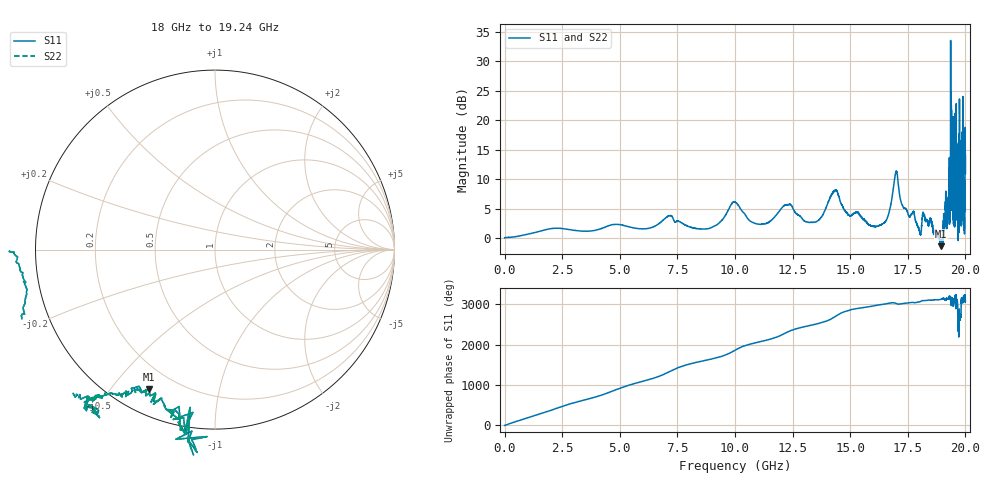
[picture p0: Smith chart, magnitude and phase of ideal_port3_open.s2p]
! Created with skrf (http://scikit-rf.org).
# GHz S RI R 50.0
!freq ReS11 ImS11 ReS21 ImS21 ReS12 ImS12 ReS22 ImS22
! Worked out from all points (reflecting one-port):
!   10001 points, 1 MHz to 20 GHz, reference 50 ohm
!   lowest |S11| = -1.3 dB at 18.95 GHz (marker M1), VSWR 13.24, Z = 5.29 - j31.5 ohm
!   phase of S11 starts at 0 deg and turns +3083 deg over the sweep
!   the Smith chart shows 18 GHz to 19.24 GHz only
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0.001  1.007 0.00805  0 0  0 0  1.007 0.00805
1.512924  0.1832 -1.133  0 0  0 0  0.1832 -1.133
2.40288  -0.0967 1.214  0 0  0 0  -0.0967 1.214
3.334833  -0.346 -1.101  0 0  0 0  -0.346 -1.101
4.930753  -1.305 -0.1541  0 0  0 0  -1.305 -0.1541
5.920704  1.206 0.04  0 0  0 0  1.206 0.04
6.668667  -0.8484 1.017  0 0  0 0  -0.8484 1.017
7.19264  -0.2128 -1.548  0 0  0 0  -0.2128 -1.548
8.064597  0.0759 1.243  0 0  0 0  0.0759 1.243
9.470527  0.2646 -1.43  0 0  0 0  0.2646 -1.43
10.0005  0.9614 1.801  0 0  0 0  0.9614 1.801
10.42648  -1.603 0.1666  0 0  0 0  -1.603 0.1666
11.76641  1.476 0.494  0 0  0 0  1.476 0.494
12.38438  -1.939 -0.0331  0 0  0 0  -1.939 -0.0331
13.33433  1.128 -0.7736  0 0  0 0  1.128 -0.7736
14.0903  -0.1196 2.122  0 0  0 0  -0.1196 2.122
14.34828  -2.553 0.1218  0 0  0 0  -2.553 0.1218
14.59627  -0.328 -1.969  0 0  0 0  -0.328 -1.969
15.16424  1.631 0.0509  0 0  0 0  1.631 0.0509
16.66817  -1.309 0.9302  0 0  0 0  -1.309 0.9302
18.94805  -0.3664 -0.7775  0 0  0 0  -0.3664 -0.7775
20  -4.629 -2.027  0 0  0 0  -4.629 -2.027
